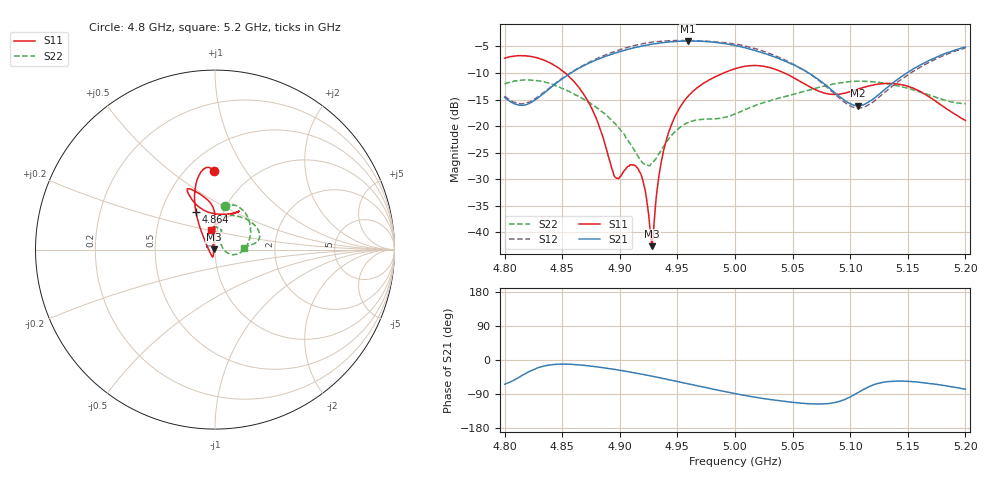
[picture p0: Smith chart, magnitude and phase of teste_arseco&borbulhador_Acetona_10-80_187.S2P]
! Network Analyzer HP8722D
! Hewlett-Packard
! Data name: Linha & Wilkinson
! Saver's name: Rodrigo Anjos
! Comments: Teste da utilização de aquisição
! continua pelo VNA HP8722D
! Time and date: 25/4/2025 16:49
!  Frequency  S11  S21  S12  S22
# HZ  S  MA R 50
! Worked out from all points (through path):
!   401 points, 4.8 GHz to 5.2 GHz, reference 50 ohm
!   highest |S21| = -3.99 dB at 4.959 GHz (marker M1); lowest = -16.2 dB at 5.107 GHz (marker M2)
!   lowest |S11| = -42.6 dB at 4.928 GHz (marker M3), VSWR 1.01, Z = 49.3 + j0.084 ohm
!   |S11| at or under -10 dB: 4.852 GHz to 4.99 GHz (137.9 MHz wide, 2.8 % of centre); 5.043 GHz to end of sweep
!   |S22| runs from -27.5 to -11.3 dB; largest |S21 - S12| = 1.2
!   S11 on the Smith chart (normalised r, x): 4.8 GHz: 0.67, +0.72; 4.864 GHz: 0.75, +0.33; 5.2 GHz: 0.94, +0.21
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4.8e9  0.4355 90.9  0.1861 -63.8  0.1913 69.5  0.2493 77.1
4.82e9  0.4544 97.2  0.1607 -32.6  0.1663 98.2  0.2714 61.9
4.843e9  0.374 106.6  0.244 -11.7  0.2475 118.8  0.2425 37.1
4.864e9  0.2344 116.9  0.348 -12.7  0.3515 121.1  0.1908 12.4
4.867e9  0.2117 118.6  0.3618 -13.6  0.3662 120.8  0.1831 9.0
4.88e9  0.1142 128.6  0.4212 -18.1  0.4311 118.4  0.1492 -4.9
4.896e9  0.03305 -170.0  0.4861 -24.9  0.5063 113.3  0.1052 -15.7
4.91e9  0.04331 -108.3  0.5373 -32.2  0.5635 107.3  0.06557 -13.2
4.917e9  0.0372 -104.8  0.559 -36.2  0.5875 103.8  0.0496 -0.8
4.921e9  0.02777 -108.9  0.5716 -38.6  0.5992 101.4  0.04424 12.3
4.926e9  0.01139 -135.0  0.5846 -41.7  0.6109 98.6  0.04227 32.3
4.928e9  0.00742 173.4  0.5901 -42.9  0.6165 97.3  0.04458 39.4
4.934e9  0.03426 99.8  0.6023 -46.5  0.6268 93.6  0.05529 57.6
4.944e9  0.09763 91.0  0.6207 -53.0  0.6345 87.1  0.07959 68.9
4.959e9  0.1892 89.9  0.6315 -62.7  0.6383 77.4  0.1077 70.9
5e9  0.3464 109.3  0.5726 -88.8  0.5918 51.0  0.1302 88.1
5.03e9  0.3555 115.4  0.465 -104.0  0.4807 33.9  0.1724 85.5
5.067e9  0.2274 105.7  0.3014 -115.7  0.2983 23.7  0.2221 57.4
5.107e9  0.2232 64.6  0.1557 -85.5  0.1476 57.5  0.264 24.3
5.134e9  0.2519 57.8  0.2392 -56.6  0.2251 88.7  0.2489 12.5
5.168e9  0.1902 69.8  0.4116 -61.6  0.3955 85.3  0.1967 7.2
5.2e9  0.113 100.9  0.5532 -77.3  0.5425 70.4  0.1621 3.8
